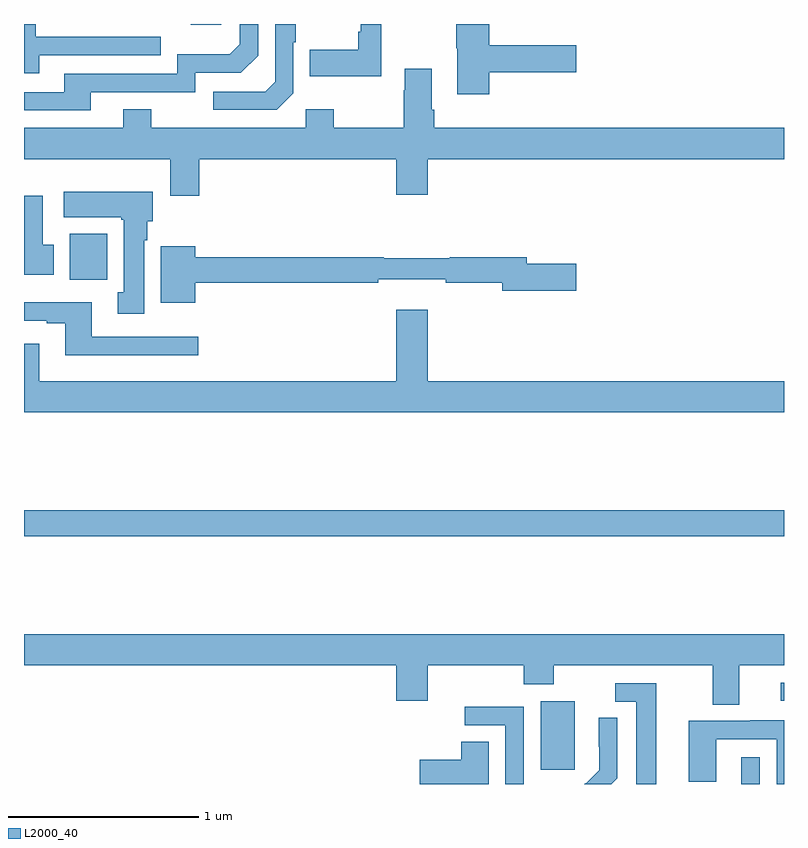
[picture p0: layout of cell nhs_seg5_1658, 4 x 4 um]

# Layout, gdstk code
import gdstk
lib = gdstk.Library(unit=1e-6, precision=1e-09)
def R(c, l, rs):  # rectangles x0, y0, x1, y1
    for r in rs: c.add(gdstk.rectangle(r[:2], r[2:], *l))
def P(c, l, *ps):  # polygons
    for p in ps: c.add(gdstk.Polygon(p, *l))
L2000_40 = (2000, 40)

nhs_seg5_1658 = lib.new_cell('nhs_seg5_1658')
R(nhs_seg5_1658, L2000_40, [(214.775,858.799,214.872,858.94), (213.719,858.873,213.898,859.234), (214.983,859.236,215,859.332), (211,860.104,215,860.24), (211.241,861.452,211.438,861.694), (211.877,862.796,212.038,862.799)])
P(nhs_seg5_1658, L2000_40, [(211.351,862.44),(211.902,862.44),(211.902,862.542),(212.142,862.542),(212.232,862.632),(212.232,862.799),(212.136,862.799),(212.136,862.692),(212.083,862.639),(211.806,862.639),(211.806,862.536),(211.211,862.536),(211.211,862.44),(211,862.44),(211,862.344),(211.351,862.344)],
  [(212.418,862.434),(212.418,862.703),(212.431,862.703),(212.431,862.799),(212.322,862.799),(212.322,862.494),(212.271,862.443),(211.995,862.443),(211.995,862.347),(212.331,862.347)],
  [(213.449,862.546),(213.907,862.546),(213.907,862.688),(213.449,862.688),(213.449,862.799),(213.274,862.799),(213.274,862.671),(213.281,862.671),(213.281,862.428),(213.449,862.428)],
  [(212.881,862.799),(212.772,862.799),(212.772,862.759),(212.76,862.759),(212.76,862.663),(212.503,862.663),(212.503,862.523),(212.881,862.523)],
  [(211.081,862.635),(211.721,862.635),(211.721,862.731),(211.062,862.731),(211.062,862.799),(211,862.799),(211,862.541),(211.081,862.541)],
  [(211.922,862.088),(212.96,862.088),(212.96,861.9),(213.124,861.9),(213.124,862.088),(215,862.088),(215,862.252),(213.158,862.252),(213.158,862.348),(213.145,862.348),(213.145,862.564),(213.005,862.564),(213.005,862.451),(212.998,862.451),(212.998,862.252),(212.631,862.252),(212.631,862.351),(212.484,862.351),(212.484,862.252),(211.671,862.252),(211.671,862.351),(211.523,862.351),(211.523,862.252),(211,862.252),(211,862.088),(211.769,862.088),(211.769,861.894),(211.922,861.894)],
  [(211.633,861.662),(211.648,861.662),(211.648,861.762),(211.678,861.762),(211.678,861.916),(211.209,861.916),(211.209,861.782),(211.513,861.782),(211.513,861.769),(211.526,861.769),(211.526,861.386),(211.493,861.386),(211.493,861.273),(211.633,861.273)],
  [(211.156,861.636),(211.099,861.636),(211.099,861.895),(211,861.895),(211,861.48),(211.156,861.48)],
  [(211.9,861.436),(212.864,861.436),(212.864,861.455),(213.22,861.455),(213.22,861.436),(213.518,861.436),(213.518,861.394),(213.907,861.394),(213.907,861.536),(213.646,861.536),(213.646,861.572),(213.242,861.572),(213.242,861.565),(212.893,861.565),(212.893,861.572),(211.9,861.572),(211.9,861.628),(211.721,861.628),(211.721,861.332),(211.9,861.332)],
  [(211.918,861.153),(211.357,861.153),(211.357,861.334),(211,861.334),(211,861.237),(211.121,861.237),(211.121,861.225),(211.217,861.225),(211.217,861.056),(211.918,861.056)],
  [(215,860.92),(213.124,860.92),(213.124,861.295),(212.96,861.295),(212.96,860.92),(211.081,860.92),(211.081,861.115),(211,861.115),(211,860.756),(215,860.756)],
  [(214.765,859.424),(215,859.424),(215,859.588),(211,859.588),(211,859.424),(212.96,859.424),(212.96,859.236),(213.124,859.236),(213.124,859.424),(213.629,859.424),(213.629,859.325),(213.789,859.325),(213.789,859.424),(214.625,859.424),(214.625,859.216),(214.765,859.216)],
  [(214.327,859.329),(214.113,859.329),(214.113,859.233),(214.223,859.233),(214.223,858.799),(214.327,858.799)],
  [(213.63,859.206),(213.321,859.206),(213.321,859.107),(213.534,859.107),(213.534,858.799),(213.63,858.799)],
  [(214.122,858.83),(214.122,859.148),(214.026,859.148),(214.026,858.994),(214.028,858.994),(214.028,858.872),(213.957,858.801),(213.954,858.804),(213.949,858.799),(214.091,858.799)],
  [(215,859.135),(214.823,859.135),(214.823,859.131),(214.499,859.131),(214.499,858.811),(214.644,858.811),(214.644,859.035),(214.962,859.035),(214.962,858.799),(215,858.799)],
  [(213.445,859.022),(213.302,859.022),(213.302,858.927),(213.084,858.927),(213.084,858.799),(213.445,858.799)])

lib.write_gds('nhs_seg5_1658.gds')
